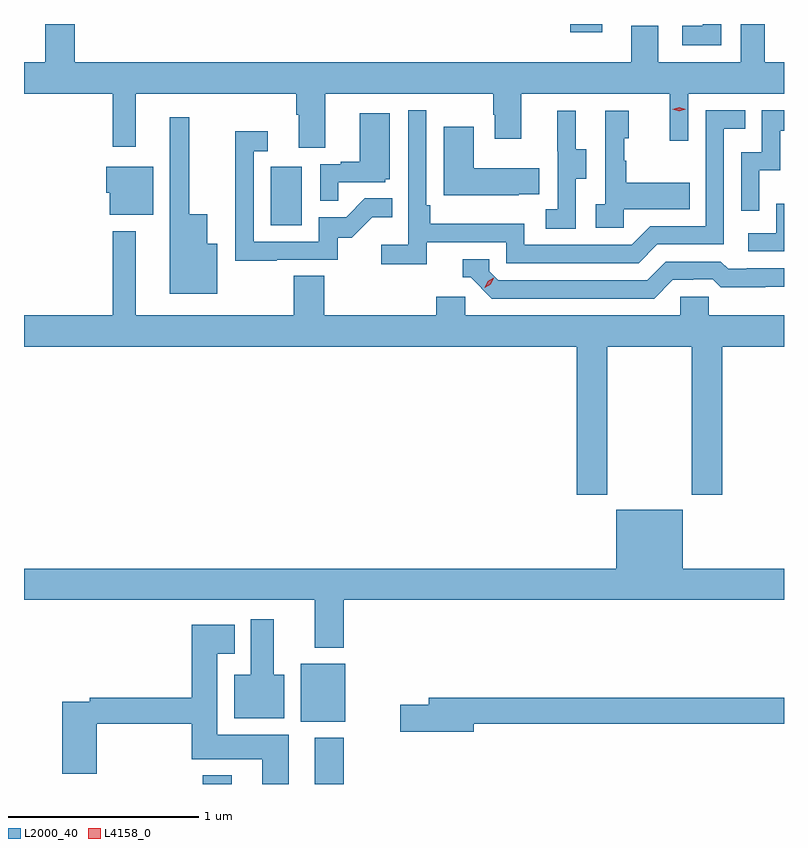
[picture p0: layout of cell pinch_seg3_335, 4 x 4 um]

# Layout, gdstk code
import gdstk
lib = gdstk.Library(unit=1e-6, precision=1e-09)
def R(c, l, rs):  # rectangles x0, y0, x1, y1
    for r in rs: c.add(gdstk.rectangle(r[:2], r[2:], *l))
def P(c, l, *ps):  # polygons
    for p in ps: c.add(gdstk.Polygon(p, *l))
L2000_40 = (2000, 40)
L4158_0 = (4158, 0)

pinch_seg3_335 = lib.new_cell('pinch_seg3_335')
R(pinch_seg3_335, L2000_40, [(1012.115,722.59,1012.267,722.635), (1012.703,722.59,1012.856,722.833), (1012.631,722.918,1012.864,723.223), (1012.472,725.532,1012.636,725.839), (1014.05,726.546,1014.217,726.59)])
P(pinch_seg3_335, L2000_40, [(1014.843,726.59),(1014.747,726.59),(1014.747,726.58),(1014.639,726.58),(1014.639,726.479),(1014.843,726.479)],
  [(1012.759,726.224),(1013.644,726.224),(1013.644,726.113),(1013.651,726.113),(1013.651,725.985),(1013.791,725.985),(1013.791,726.224),(1014.572,726.224),(1014.572,725.976),(1014.669,725.976),(1014.669,726.224),(1015.174,726.224),(1015.174,726.388),(1015.073,726.388),(1015.073,726.59),(1014.947,726.59),(1014.947,726.388),(1014.511,726.388),(1014.511,726.58),(1014.371,726.58),(1014.371,726.388),(1011.44,726.388),(1011.44,726.59),(1011.287,726.59),(1011.287,726.388),(1011.174,726.388),(1011.174,726.224),(1011.642,726.224),(1011.642,725.943),(1011.763,725.943),(1011.763,726.224),(1012.607,726.224),(1012.607,726.112),(1012.619,726.112),(1012.619,725.938),(1012.759,725.938)],
  [(1013.294,725.442),(1013.712,725.442),(1013.712,725.331),(1014.409,725.331),(1014.508,725.43),(1014.858,725.43),(1014.858,726.039),(1014.971,726.039),(1014.971,726.135),(1014.762,726.135),(1014.762,725.526),(1014.471,725.526),(1014.372,725.427),(1013.808,725.427),(1013.808,725.539),(1013.312,725.539),(1013.312,725.635),(1013.292,725.635),(1013.292,726.136),(1013.196,726.136),(1013.196,725.428),(1013.055,725.428),(1013.055,725.326),(1013.294,725.326)],
  [(1015.044,725.819),(1015.154,725.819),(1015.154,726.027),(1015.174,726.027),(1015.174,726.135),(1015.056,726.135),(1015.056,725.916),(1014.948,725.916),(1014.948,725.607),(1015.044,725.607)],
  [(1014.078,725.776),(1014.133,725.776),(1014.133,725.931),(1014.079,725.931),(1014.079,726.133),(1013.981,726.133),(1013.981,725.919),(1013.982,725.919),(1013.982,725.615),(1013.919,725.615),(1013.919,725.512),(1014.078,725.512)],
  [(1014.33,725.615),(1014.677,725.615),(1014.677,725.755),(1014.343,725.755),(1014.343,725.87),(1014.333,725.87),(1014.333,725.988),(1014.358,725.988),(1014.358,726.133),(1014.234,726.133),(1014.234,725.642),(1014.183,725.642),(1014.183,725.517),(1014.33,725.517)],
  [(1012.829,725.757),(1013.076,725.757),(1013.076,725.772),(1013.098,725.772),(1013.098,726.121),(1012.94,726.121),(1012.94,725.866),(1012.841,725.866),(1012.841,725.853),(1012.734,725.853),(1012.734,725.659),(1012.829,725.659)],
  [(1012.192,725.434),(1012.138,725.434),(1012.138,725.59),(1012.045,725.59),(1012.045,726.1),(1011.941,726.1),(1011.941,725.171),(1012.192,725.171)],
  [(1013.777,725.693),(1013.885,725.693),(1013.885,725.83),(1013.542,725.83),(1013.542,726.049),(1013.384,726.049),(1013.384,725.69),(1013.777,725.69)],
  [(1012.505,725.349),(1012.824,725.349),(1012.824,725.466),(1012.9,725.466),(1013.007,725.573),(1013.111,725.573),(1013.111,725.672),(1012.967,725.672),(1012.869,725.574),(1012.725,725.574),(1012.725,725.445),(1012.383,725.445),(1012.383,725.919),(1012.456,725.919),(1012.456,726.025),(1012.285,726.025),(1012.285,725.586),(1012.287,725.586),(1012.287,725.344),(1012.505,725.344)],
  [(1011.853,725.839),(1011.608,725.839),(1011.608,725.703),(1011.626,725.703),(1011.626,725.585),(1011.853,725.585)],
  [(1015.174,725.644),(1015.134,725.644),(1015.134,725.49),(1014.987,725.49),(1014.987,725.394),(1015.174,725.394)],
  [(1014.243,724.892),(1014.688,724.892),(1014.688,724.113),(1014.848,724.113),(1014.848,724.892),(1015.174,724.892),(1015.174,725.056),(1014.777,725.056),(1014.777,725.154),(1014.627,725.154),(1014.627,725.056),(1013.496,725.056),(1013.496,725.154),(1013.345,725.154),(1013.345,725.056),(1012.754,725.056),(1012.754,725.264),(1012.594,725.264),(1012.594,725.056),(1011.763,725.056),(1011.763,725.5),(1011.642,725.5),(1011.642,725.056),(1011.174,725.056),(1011.174,724.892),(1014.083,724.892),(1014.083,724.113),(1014.243,724.113)],
  [(1014.589,725.244),(1014.696,725.244),(1014.696,725.247),(1014.799,725.247),(1014.841,725.205),(1015.074,725.205),(1015.074,725.207),(1015.174,725.207),(1015.174,725.304),(1014.979,725.304),(1014.979,725.301),(1014.88,725.301),(1014.841,725.34),(1014.552,725.34),(1014.453,725.241),(1013.67,725.241),(1013.622,725.289),(1013.622,725.352),(1013.483,725.352),(1013.483,725.256),(1013.526,725.256),(1013.637,725.145),(1014.49,725.145)],
  [(1012.856,723.56),(1015.174,723.56),(1015.174,723.724),(1014.64,723.724),(1014.64,724.033),(1014.29,724.033),(1014.29,723.724),(1011.174,723.724),(1011.174,723.56),(1012.703,723.56),(1012.703,723.308),(1012.856,723.308)],
  [(1012.543,723.166),(1012.489,723.166),(1012.489,723.457),(1012.367,723.457),(1012.367,723.166),(1012.28,723.166),(1012.28,722.936),(1012.543,722.936)],
  [(1012.567,722.848),(1012.192,722.848),(1012.192,723.275),(1012.282,723.275),(1012.282,723.427),(1012.058,723.427),(1012.058,723.044),(1011.52,723.044),(1011.52,723.024),(1011.374,723.024),(1011.374,722.643),(1011.557,722.643),(1011.557,722.908),(1012.058,722.908),(1012.058,722.72),(1012.427,722.72),(1012.427,722.59),(1012.567,722.59)],
  [(1013.542,722.908),(1015.174,722.908),(1015.174,723.044),(1013.303,723.044),(1013.303,723.008),(1013.154,723.008),(1013.154,722.866),(1013.542,722.866)])
P(pinch_seg3_335, L4158_0, [(1014.622,726.131),(1014.586,726.141),(1014.585,726.141),(1014.586,726.142),(1014.622,726.151),(1014.657,726.142),(1014.658,726.141),(1014.657,726.141)],
  [(1013.6,725.202),(1013.6,725.202),(1013.616,725.235),(1013.647,725.254),(1013.647,725.254),(1013.647,725.254),(1013.631,725.221),(1013.6,725.202)])

lib.write_gds('pinch_seg3_335.gds')
